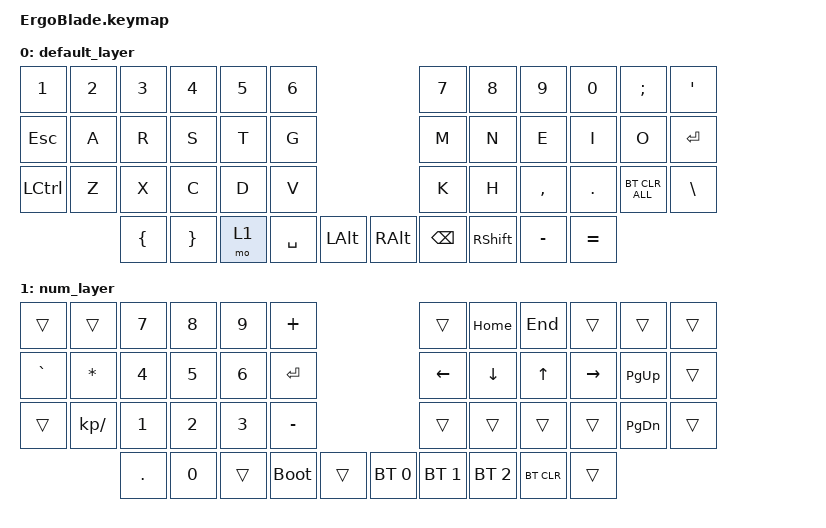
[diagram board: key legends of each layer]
#include <behaviors.dtsi>
#include <dt-bindings/zmk/keys.h>
#include <dt-bindings/zmk/bt.h>

/ {  
    keymap {
        compatible = "zmk,keymap";

        default_layer {
            bindings = <
                &kp N1  &kp N2     &kp N3     &kp N4     &kp N5   &kp N6                             &kp N7     &kp N8       &kp N9      &kp N0     &kp SEMI  &kp SQT
                &kp ESC         &kp A     &kp R     &kp S     &kp T   &kp G                             &kp M     &kp N       &kp E      &kp I     &kp O     &kp RET
                &kp LCTRL       &kp Z     &kp X     &kp C     &kp D   &kp V                             &kp K     &kp H       &kp COMMA  &kp DOT   &bt BT_CLR_ALL  &kp BSLH
                                &kp LBRC  &kp RBRC  &mo 1   &kp SPACE  &kp LALT     &kp RALT  &kp BSPC  &kp RSHIFT  &kp MINUS  &kp EQUAL
            >;
        }; 
        num_layer {
            bindings = <
                &trans     &trans      &kp N7   &kp N8   &kp N9  &kp PLUS                               &trans        &kp HOME      &kp END     &trans     &trans     &trans
                &kp GRAVE  &kp ASTRK   &kp N4   &kp N5   &kp N6  &kp RET                                &kp LEFT      &kp DOWN      &kp UP      &kp RIGHT  &kp PG_UP  &trans
                &trans     &kp KP_DIVIDE  &kp N1   &kp N2   &kp N3  &kp MINUS                           &trans        &trans        &trans      &trans     &kp PG_DN  &trans
                                       &kp DOT  &kp N0   &trans  &bootloader  &trans      &bt BT_SEL 0  &bt BT_SEL 1  &bt BT_SEL 2  &bt BT_CLR  &trans
            >;
        };
    };
};
